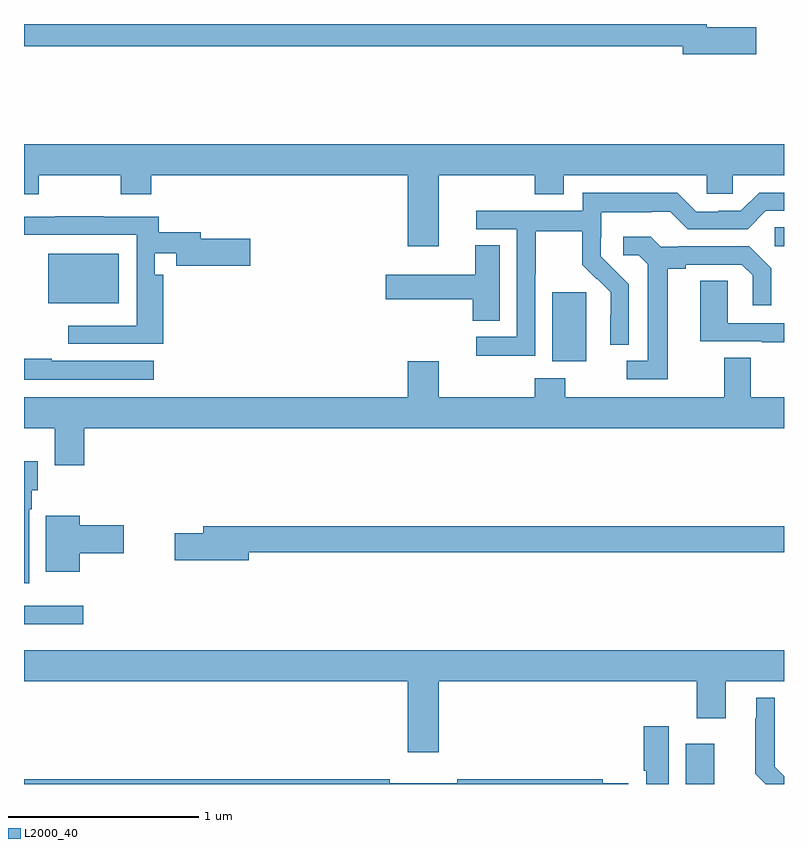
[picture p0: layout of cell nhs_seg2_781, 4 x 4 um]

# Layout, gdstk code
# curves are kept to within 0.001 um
import gdstk
lib = gdstk.Library(unit=1e-6, precision=1e-09)
def R(c, l, rs):  # rectangles x0, y0, x1, y1
    for r in rs: c.add(gdstk.rectangle(r[:2], r[2:], *l))
def P(c, l, *ps):  # polygons
    for p in ps: c.add(gdstk.Polygon(p, *l))
L2000_40 = (2000, 40)

nhs_seg2_781 = lib.new_cell('nhs_seg2_781')
R(nhs_seg2_781, L2000_40, [(154.484,609.8,154.633,610.012), (151,610.64,151.312,610.737), (153.779,612.026,153.958,612.387), (151.127,612.329,151.498,612.592), (154.95,612.63,155,612.731)])
P(nhs_seg2_781, L2000_40, [(154.855,613.784),(154.594,613.784),(154.594,613.8),(151,613.8),(151,613.684),(154.466,613.684),(154.466,613.642),(154.855,613.642)],
  [(153.184,613.004),(153.689,613.004),(153.689,612.905),(153.841,612.905),(153.841,613.004),(154.593,613.004),(154.593,612.906),(154.731,612.906),(154.731,613.004),(155,613.004),(155,613.168),(151,613.168),(151,612.905),(151.077,612.905),(151.077,613.004),(151.51,613.004),(151.51,612.905),(151.67,612.905),(151.67,613.004),(153.02,613.004),(153.02,612.63),(153.184,612.63)],
  [(153.69,612.484),(153.693,612.484),(153.693,612.708),(153.937,612.708),(153.937,612.533),(154.014,612.456),(154.017,612.459),(154.088,612.389),(154.088,612.266),(154.086,612.266),(154.086,612.112),(154.182,612.112),(154.182,612.43),(154.036,612.578),(154.036,612.675),(154.038,612.675),(154.038,612.809),(154.301,612.809),(154.301,612.813),(154.401,612.813),(154.494,612.72),(154.809,612.72),(154.905,612.816),(155,612.816),(155,612.912),(154.869,612.912),(154.773,612.816),(154.655,612.816),(154.655,612.813),(154.539,612.813),(154.439,612.913),(153.942,612.913),(153.942,612.816),(153.381,612.816),(153.381,612.72),(153.594,612.72),(153.594,612.153),(153.381,612.153),(153.381,612.055),(153.69,612.055)],
  [(151.733,612.481),(151.689,612.481),(151.689,612.594),(151.802,612.594),(151.802,612.527),(152.191,612.527),(152.191,612.669),(151.93,612.669),(151.93,612.703),(151.709,612.703),(151.709,612.786),(151.421,612.786),(151.421,612.788),(151.165,612.788),(151.165,612.786),(151,612.786),(151,612.69),(151.593,612.69),(151.593,612.213),(151.233,612.213),(151.233,612.117),(151.733,612.117)],
  [(154.387,612.512),(154.483,612.512),(154.483,612.534),(154.778,612.534),(154.835,612.477),(154.835,612.321),(154.932,612.321),(154.932,612.514),(154.816,612.63),(154.444,612.63),(154.444,612.627),(154.35,612.627),(154.298,612.679),(154.155,612.679),(154.155,612.582),(154.236,612.582),(154.283,612.535),(154.283,612.027),(154.173,612.027),(154.173,611.931),(154.387,611.931)],
  [(153.505,612.635),(153.374,612.635),(153.374,612.481),(152.904,612.481),(152.904,612.352),(153.362,612.352),(153.362,612.238),(153.505,612.238)],
  [(155,612.225),(154.704,612.225),(154.704,612.449),(154.559,612.449),(154.559,612.129),(154.883,612.129),(154.883,612.125),(155,612.125)],
  [(151.316,611.672),(155,611.672),(155,611.836),(154.825,611.836),(154.825,612.044),(154.685,612.044),(154.685,611.836),(153.849,611.836),(153.849,611.935),(153.689,611.935),(153.689,611.836),(153.184,611.836),(153.184,612.025),(153.02,612.025),(153.02,611.836),(151,611.836),(151,611.672),(151.163,611.672),(151.163,611.478),(151.316,611.478)],
  [(151.684,612.028),(151.145,612.028),(151.145,612.038),(151,612.038),(151,611.927),(151.684,611.927)],
  [(151.027,611.246),(151.042,611.246),(151.042,611.346),(151.072,611.346),(151.072,611.5),(151,611.5),(151,610.857),(151.027,610.857)],
  [(151.294,611.015),(151.525,611.015),(151.525,611.162),(151.294,611.162),(151.294,611.212),(151.115,611.212),(151.115,610.916),(151.294,610.916)],
  [(152.182,611.02),(155,611.02),(155,611.156),(151.943,611.156),(151.943,611.12),(151.794,611.12),(151.794,610.978),(152.182,610.978)],
  [(153.184,610.34),(154.541,610.34),(154.541,610.146),(154.693,610.146),(154.693,610.34),(155,610.34),(155,610.504),(151,610.504),(151,610.34),(153.02,610.34),(153.02,609.966),(153.184,609.966)],
  [(155,609.842),(154.951,609.892),(154.951,610.255),(154.853,610.255),(154.853,610.145),(154.849,610.145),(154.849,609.854),(154.903,609.8),(155,609.8)],
  [(154.393,610.105),(154.262,610.105),(154.262,609.871),(154.274,609.871),(154.274,609.8),(154.393,609.8)],
  [(154.18,609.804),(154.046,609.804),(154.046,609.824),(153.28,609.824),(153.28,609.805),(152.924,609.805),(152.924,609.824),(151,609.824),(151,609.8),(154.18,609.8)])

lib.write_gds('nhs_seg2_781.gds')
